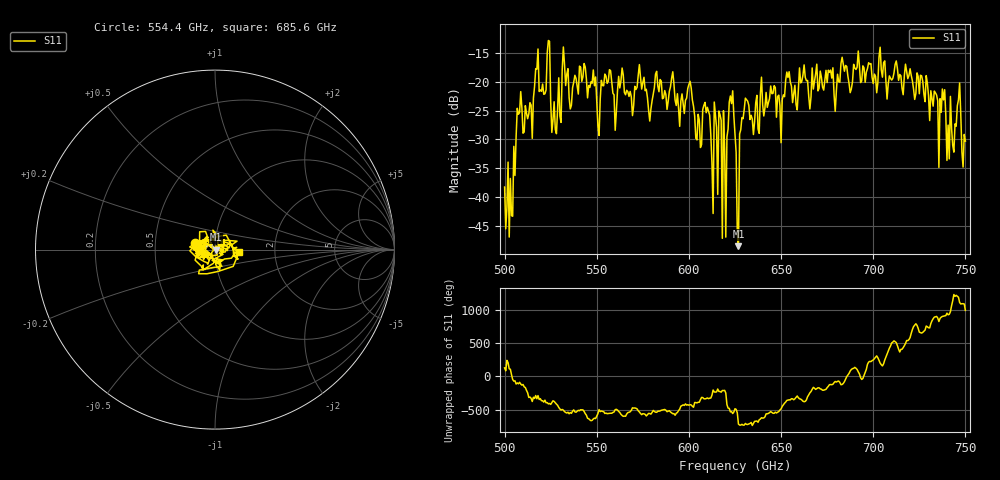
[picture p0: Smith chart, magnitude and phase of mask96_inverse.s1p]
!Created with skrf (http://scikit-rf.org).
# GHz S MA R 50.0
!freq magS11 angS11
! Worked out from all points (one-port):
!   401 points, 500 GHz to 750 GHz, reference 50 ohm
!   lowest |S11| = -48.5 dB at 626.9 GHz (marker M1), VSWR 1.01, Z = 50.4 + j0.00725 ohm
!   |S11| at or under -10 dB: start of sweep to end of sweep
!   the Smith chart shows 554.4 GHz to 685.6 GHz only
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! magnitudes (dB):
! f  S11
! 500 GHz  -38.2
! 503.8 GHz  -43.2
! 508.1 GHz  -25.4
! 513.8 GHz  -23.7
! 516.9 GHz  -17.8
! 523.8 GHz  -12.9
! 526.9 GHz  -23.5
! 531.2 GHz  -18.0
! 542.5 GHz  -19.2
! 551.2 GHz  -29.3
! 562.5 GHz  -21.1
! 593.8 GHz  -22.1
! 600.6 GHz  -20.0
! 605.6 GHz  -26.7
! 609.4 GHz  -25.4
! 619.4 GHz  -31.7
! 623.1 GHz  -23.8
! 625 GHz  -29.1
! 626.9 GHz  -48.5
! 628.8 GHz  -26.2
! 631.2 GHz  -23.1
! 656.2 GHz  -23.6
! 687.5 GHz  -21.9
! 718.8 GHz  -19.5
! 737.5 GHz  -21.3
! 742.5 GHz  -28.1
! 746.2 GHz  -23.1
! 750 GHz  -30.3
